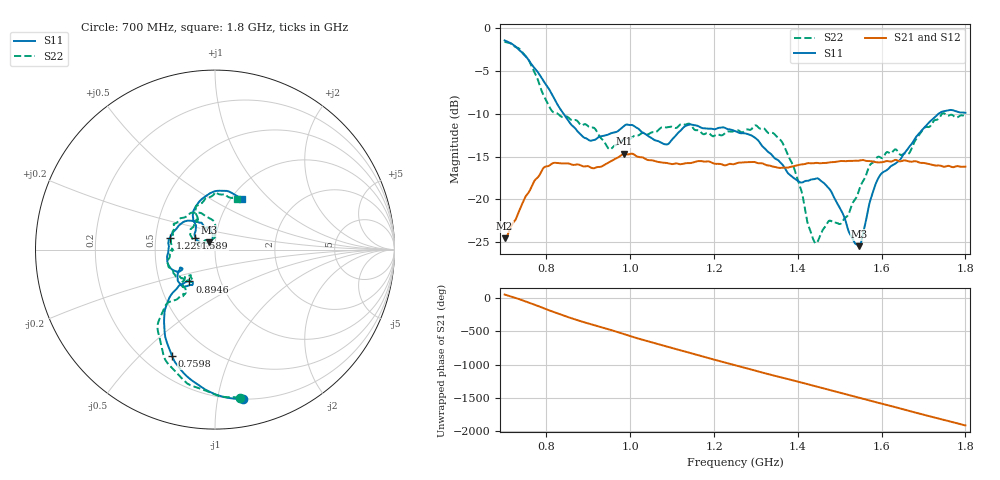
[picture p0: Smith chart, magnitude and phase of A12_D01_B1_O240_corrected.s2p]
! Created with skrf 1.9.0 (http://scikit-rf.org).
# Hz S RI R 50.0
!freq ReS11 ImS11 ReS21 ImS21 ReS12 ImS12 ReS22 ImS22
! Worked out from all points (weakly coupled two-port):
!   1601 points, 700 MHz to 1.8 GHz, reference 50 ohm
!   highest |S21| = -14.65 dB at 984.6 MHz (marker M1); lowest = -24.5 dB at 700 MHz (marker M2)
!   lowest |S11| = -25.5 dB at 1.546 GHz (marker M3), VSWR 1.11, Z = 46.6 + j3.9 ohm
!   |S11| at or under -10 dB: 840.4 MHz to 1.735 GHz (895 MHz wide, 69.5 % of centre)
!   |S22| runs from -25.1 to -1.6 dB; largest |S21 - S12| = 0.0038
!   S11 on the Smith chart (normalised r, x): 700 MHz: 0.20, -1.18; 759.8 MHz: 0.31, -0.63; 894.6 MHz: 0.71, -0.27; 1.229 GHz: 0.59, +0.09; 1.589 GHz: 0.80, +0.11; 1.8 GHz: 1.12, +0.71
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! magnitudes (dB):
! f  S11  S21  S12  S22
! 700 MHz  -1.4  -24.5  -24.3  -1.6
! 759.8 MHz  -3.9  -19.0  -18.8  -3.9
! 812.8 MHz  -7.7  -15.8  -15.8  -9.7
! 883.6 MHz  -12.5  -16.1  -16.0  -11.3
! 894.6 MHz  -12.9  -16.1  -16.2  -11.2
! 950.2 MHz  -12.4  -15.6  -15.6  -14.1
! 984.6 MHz  -11.4  -14.7  -14.7  -13.0
! 1.067 GHz  -13.2  -15.6  -15.6  -11.9
! 1.14 GHz  -11.3  -15.8  -15.7  -11.1
! 1.229 GHz  -11.7  -16.0  -15.9  -12.1
! 1.25 GHz  -12.0  -15.8  -15.8  -12.0
! 1.3 GHz  -12.9  -15.7  -15.7  -11.4
! 1.361 GHz  -15.8  -16.3  -16.3  -13.2
! 1.405 GHz  -18.0  -15.9  -16.0  -18.4
! 1.434 GHz  -17.7  -15.8  -15.8  -24.2
! 1.504 GHz  -21.3  -15.5  -15.5  -22.8
! 1.546 GHz  -25.5  -15.5  -15.4  -18.9
! 1.589 GHz  -17.8  -15.7  -15.7  -15.1
! 1.617 GHz  -16.4  -15.6  -15.5  -14.5
! 1.664 GHz  -14.0  -15.5  -15.5  -14.7
! 1.737 GHz  -9.9  -16.0  -16.1  -10.5
! 1.8 GHz  -9.9  -16.2  -16.2  -10.3
